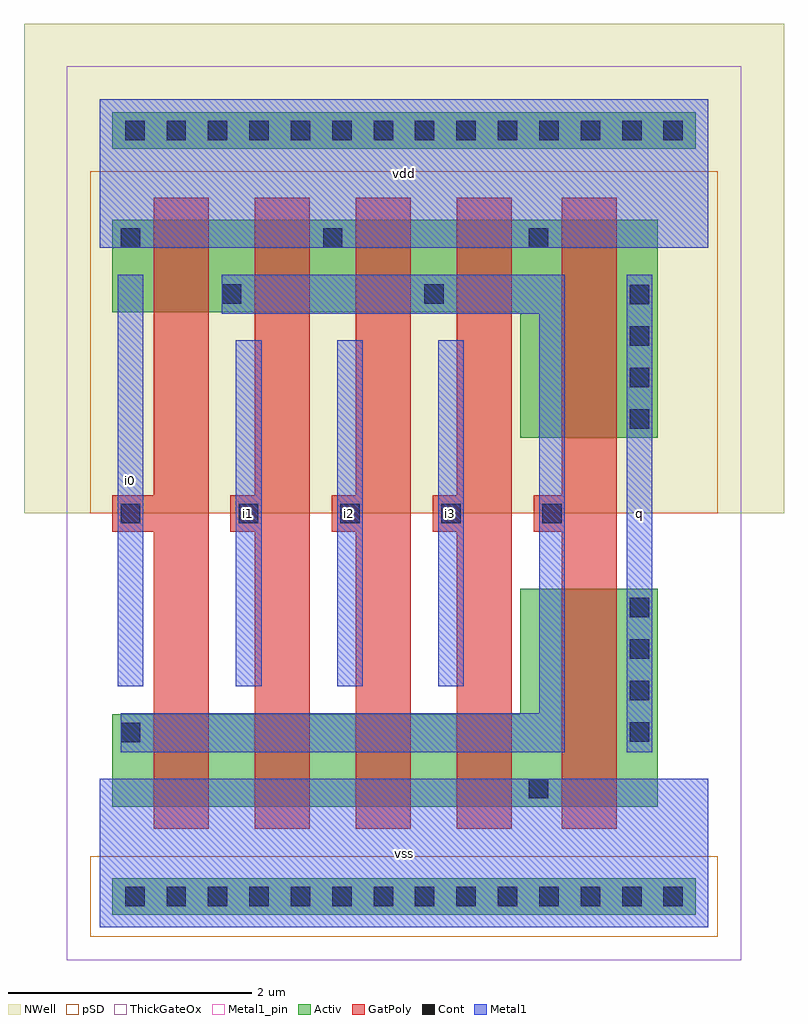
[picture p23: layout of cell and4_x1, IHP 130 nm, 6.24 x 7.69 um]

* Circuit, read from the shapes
.subckt and4_x1 i0 i1 i2 i3 q vdd vss
XM1 n1 i0 n2 vss sg13_hv_nmos w=0.76u l=0.45u
XM2 n3 i1 n1 vss sg13_hv_nmos w=0.76u l=0.45u
XM3 n4 i2 n3 vss sg13_hv_nmos w=0.76u l=0.45u
XM4 vss i3 n4 vss sg13_hv_nmos w=0.76u l=0.45u
XM5 q n2 vss vss sg13_hv_nmos w=1.79u l=0.45u
XM6 n2 i0 vdd vdd sg13_hv_pmos w=0.76u l=0.45u
XM7 vdd i1 n2 vdd sg13_hv_pmos w=0.76u l=0.45u
XM8 n2 i2 vdd vdd sg13_hv_pmos w=0.76u l=0.45u
XM9 vdd i3 n2 vdd sg13_hv_pmos w=0.76u l=0.45u
XM10 q n2 vdd vdd sg13_hv_pmos w=1.79u l=0.45u
.ends

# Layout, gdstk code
import gdstk
lib = gdstk.Library(unit=1e-6, precision=1e-09)
def R(c, l, rs):  # rectangles x0, y0, x1, y1
    for r in rs: c.add(gdstk.rectangle(r[:2], r[2:], *l))
def A(c, l, x, y, w, h, nx, ny, dx, dy):  # array of equal rectangles
    R(c, l, [(x+i*dx, y+j*dy, x+i*dx+w, y+j*dy+h) for i in range(nx) for j in range(ny)])
def P(c, l, *ps):  # polygons
    for p in ps: c.add(gdstk.Polygon(p, *l))
Activ = (1, 0)
GatPoly = (5, 0)
Cont = (6, 0)
Metal1 = (8, 0)
Metal1_pin = (8, 2)
pSD = (14, 0)
NWell = (31, 0)
ThickGateOx = (44, 0)

and4_x1 = lib.new_cell('and4_x1')
R(and4_x1, Activ, [(0.105,0.105,4.895,0.405), (0.105,6.395,4.895,6.695)])
P(and4_x1, Activ, [(0.105,0.99),(0.105,1.75),(3.455,1.75),(3.455,2.78),(4.585,2.78),(4.585,0.99)],
  [(3.455,4.02),(3.455,5.05),(0.105,5.05),(0.105,5.81),(4.585,5.81),(4.585,4.02)])
P(and4_x1, GatPoly, [(3.795,0.81),(3.795,3.25),(3.565,3.25),(3.565,3.55),(3.795,3.55),(3.795,5.99),(4.245,5.99),(4.245,0.81)],
  [(0.445,0.81),(0.445,3.25),(0.105,3.25),(0.105,3.55),(0.445,3.55),(0.445,5.99),(0.895,5.99),(0.895,0.81)],
  [(1.275,0.81),(1.275,3.25),(1.075,3.25),(1.075,3.55),(1.275,3.55),(1.275,5.99),(1.725,5.99),(1.725,0.81)],
  [(2.105,0.81),(2.105,3.25),(1.905,3.25),(1.905,3.55),(2.105,3.55),(2.105,5.99),(2.555,5.99),(2.555,0.81)],
  [(2.935,0.81),(2.935,3.25),(2.735,3.25),(2.735,3.55),(2.935,3.55),(2.935,5.99),(3.385,5.99),(3.385,0.81)])
A(and4_x1, Cont, 0.21, 0.175, 0.16, 0.16, 14, 2, 0.34, 6.29)
A(and4_x1, Cont, 4.355, 1.525, 0.16, 0.16, 1, 4, 0, 0.34)
A(and4_x1, Cont, 1.145, 3.32, 0.16, 0.16, 4, 1, 0.83, 0)
A(and4_x1, Cont, 4.355, 4.095, 0.16, 0.16, 1, 4, 0, 0.34)
R(and4_x1, Cont, [(3.525,1.06,3.685,1.22), (0.175,1.52,0.335,1.68), (0.175,3.32,0.335,3.48), (1.005,5.12,1.165,5.28), (2.665,5.12,2.825,5.28), (0.175,5.58,0.335,5.74), (1.835,5.58,1.995,5.74), (3.525,5.58,3.685,5.74)])
A(and4_x1, Metal1, 1.12, 1.98, 0.21, 2.84, 3, 1, 0.83, 0)
R(and4_x1, Metal1, [(0,0,5,1.22), (4.33,1.44,4.54,5.36), (0.15,1.98,0.36,5.36), (0,5.58,5,6.8)])
P(and4_x1, Metal1, [(0.175,1.44),(0.175,1.76),(3.61,1.76),(3.61,5.04),(1.005,5.04),(1.005,5.36),(3.82,5.36),(3.82,1.44)])
A(and4_x1, Metal1_pin, 1.12, 1.98, 0.21, 2.84, 3, 1, 0.83, 0)
R(and4_x1, Metal1_pin, [(0,0,5,1.22), (4.33,1.44,4.54,5.36), (0.15,1.98,0.36,5.36), (0,5.58,5,6.8)])
R(and4_x1, pSD, [(-0.075,-0.075,5.075,0.585), (-0.075,3.4,5.075,6.21)])
R(and4_x1, NWell, [(-0.62,3.4,5.62,7.42)])
R(and4_x1, ThickGateOx, [(-0.27,-0.27,5.27,7.07)])
and4_x1.add(gdstk.Label('vdd', (2.5,6.19), layer=8, texttype=2))
and4_x1.add(gdstk.Label('vss', (2.5,0.61), layer=8, texttype=2))
and4_x1.add(gdstk.Label('i0', (0.255,3.67), layer=8, texttype=2))
and4_x1.add(gdstk.Label('i1', (1.225,3.4), layer=8, texttype=2))
and4_x1.add(gdstk.Label('i2', (2.055,3.4), layer=8, texttype=2))
and4_x1.add(gdstk.Label('i3', (2.885,3.4), layer=8, texttype=2))
and4_x1.add(gdstk.Label('q', (4.435,3.4), layer=8, texttype=2))

lib.write_gds('and4_x1.gds')
